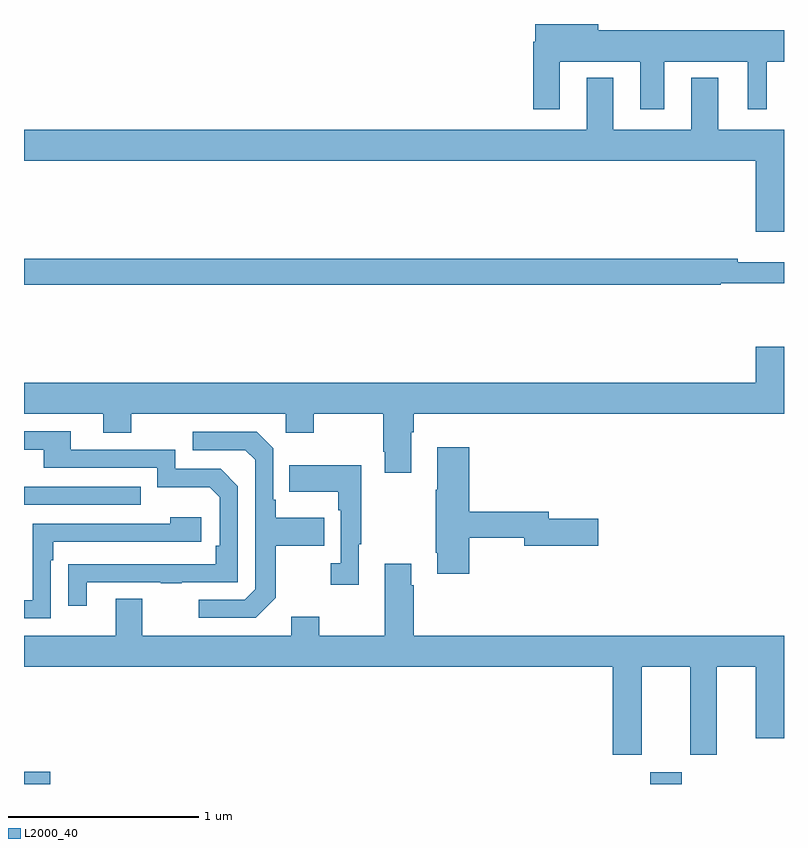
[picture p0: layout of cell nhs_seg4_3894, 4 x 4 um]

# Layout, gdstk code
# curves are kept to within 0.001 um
import gdstk
lib = gdstk.Library(unit=1e-6, precision=1e-09)
def R(c, l, rs):  # rectangles x0, y0, x1, y1
    for r in rs: c.add(gdstk.rectangle(r[:2], r[2:], *l))
def P(c, l, *ps):  # polygons
    for p in ps: c.add(gdstk.Polygon(p, *l))
L2000_40 = (2000, 40)

nhs_seg4_3894 = lib.new_cell('nhs_seg4_3894')
R(nhs_seg4_3894, L2000_40, [(317,766.9,317.137,766.964), (320.297,766.9,320.461,766.963), (317,768.369,317.615,768.465)])
P(nhs_seg4_3894, L2000_40, [(319.819,770.702),(320.243,770.702),(320.243,770.451),(320.371,770.451),(320.371,770.702),(320.81,770.702),(320.81,770.451),(320.908,770.451),(320.908,770.702),(321,770.702),(321,770.866),(320.023,770.866),(320.023,770.9),(319.691,770.9),(319.691,770.806),(319.679,770.806),(319.679,770.451),(319.819,770.451)],
  [(321,770.344),(320.653,770.344),(320.653,770.617),(320.513,770.617),(320.513,770.344),(320.101,770.344),(320.101,770.617),(319.961,770.617),(319.961,770.344),(317,770.344),(317,770.18),(320.852,770.18),(320.852,769.806),(321,769.806)],
  [(320.668,769.536),(321,769.536),(321,769.645),(320.756,769.645),(320.756,769.664),(317,769.664),(317,769.528),(320.668,769.528)],
  [(319.039,768.752),(319.052,768.752),(319.052,768.848),(321,768.848),(321,769.201),(320.852,769.201),(320.852,769.012),(317,769.012),(317,768.848),(317.417,768.848),(317.417,768.749),(317.565,768.749),(317.565,768.848),(318.378,768.848),(318.378,768.749),(318.525,768.749),(318.525,768.848),(318.892,768.848),(318.892,768.649),(318.899,768.649),(318.899,768.537),(319.039,768.537)],
  [(317.329,767.961),(317.719,767.961),(317.719,767.956),(317.831,767.956),(317.831,767.961),(318.126,767.961),(318.126,768.468),(318.036,768.558),(317.796,768.558),(317.796,768.66),(317.245,768.66),(317.245,768.756),(317,768.756),(317,768.66),(317.105,768.66),(317.105,768.564),(317.7,768.564),(317.7,768.461),(317.977,768.461),(318.03,768.408),(318.03,768.154),(318.01,768.154),(318.01,768.057),(317.233,768.056),(317.233,767.838),(317.329,767.838)],
  [(318.325,767.881),(318.325,768.154),(318.581,768.154),(318.581,768.301),(318.325,768.301),(318.325,768.397),(318.312,768.397),(318.312,768.666),(318.225,768.753),(317.889,768.753),(317.889,768.657),(318.165,768.657),(318.216,768.606),(318.216,767.925),(318.162,767.871),(317.919,767.871),(317.919,767.775),(318.219,767.775)],
  [(319.343,768.196),(319.634,768.196),(319.634,768.154),(320.023,768.154),(320.023,768.296),(319.762,768.296),(319.762,768.332),(319.343,768.332),(319.343,768.673),(319.175,768.673),(319.175,768.449),(319.168,768.449),(319.168,768.118),(319.175,768.118),(319.175,768.006),(319.343,768.006)],
  [(318.763,768.161),(318.775,768.161),(318.775,768.577),(318.397,768.577),(318.397,768.437),(318.654,768.437),(318.654,768.341),(318.666,768.341),(318.666,768.062),(318.615,768.062),(318.615,767.949),(318.763,767.949)],
  [(317.142,768.077),(317.155,768.077),(317.155,768.174),(317.932,768.174),(317.932,768.304),(317.771,768.304),(317.771,768.27),(317.046,768.27),(317.046,767.868),(317,767.868),(317,767.772),(317.142,767.772)],
  [(320.251,767.516),(320.507,767.516),(320.507,767.055),(320.647,767.055),(320.647,767.516),(320.852,767.516),(320.852,767.142),(321,767.142),(321,767.68),(319.052,767.68),(319.052,767.945),(319.039,767.945),(319.039,768.058),(318.899,768.058),(318.899,767.68),(318.555,767.68),(318.555,767.779),(318.407,767.779),(318.407,767.68),(317.623,767.68),(317.623,767.875),(317.483,767.875),(317.483,767.68),(317,767.68),(317,767.516),(320.099,767.516),(320.099,767.055),(320.251,767.055)])

lib.write_gds('nhs_seg4_3894.gds')
